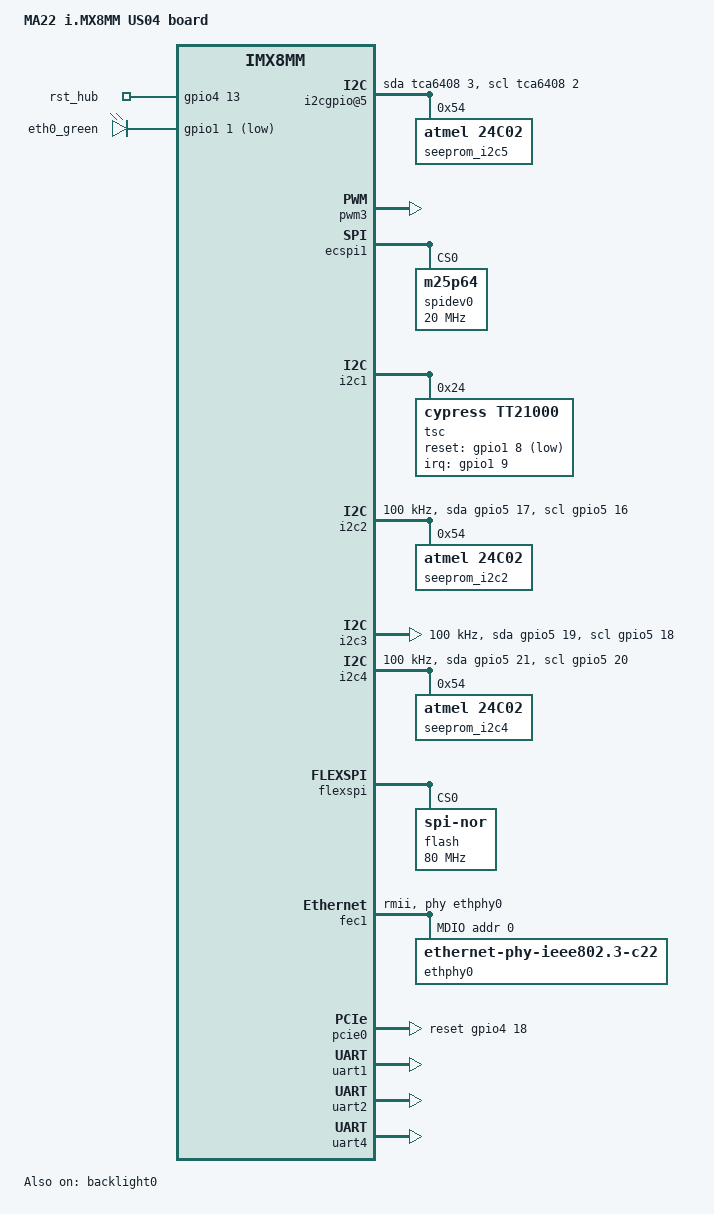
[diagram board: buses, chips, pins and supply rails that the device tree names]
/*
 * Copyright (C) 2019 Exor S.p.a
 * 
 * Written by: G. Pavoni Exor S.p.a.
 * 
 * Copyright (C) 2013 Freescale Semiconductor, Inc.
 *
 * This program is free software; you can redistribute it and/or modify
 * it under the terms of the GNU General Public License version 2 as
 * published by the Free Software Foundation.
 */
  
/dts-v1/;
  
#include "imx8mm_us04.dtsi"
  
/ {
	model = "MA22 i.MX8MM US04 board";

	aliases {
		serial0 = &uart1;
		serial1 = &uart2;
		serial2 = &uart4;
		
		i2c0 = &i2c1;
		i2c1 = &i2c2;
		i2c2 = &i2c3;
		i2c3 = &i2c4;
	};

	thermal-zones {
		/* cpu thermal */
		cpu-thermal {
			polling-delay-passive = <250>;
			polling-delay = <2000>;
			thermal-sensors = <&tmu>;
			trips {
				cpu_alert0: trip0 {
					temperature = <110000>;
					hysteresis = <2000>;
					type = "passive";
				};

				cpu_crit0: trip1 {
					temperature = <120000>;
					hysteresis = <2000>;
					type = "critical";
				};
			};

			cooling-maps {
				map0 {
					trip = <&cpu_alert0>;
					cooling-device =
					<&A53_0 THERMAL_NO_LIMIT THERMAL_NO_LIMIT>;
				};
			};
		};
	};
	
	lvdspanel {
		de_pol = <1>;
		hsync_pol = <1>;
		vsync_pol = <1>;
		lvds-use-jeida;
		panel-timing {
			clock-frequency = <75000000>;
			hactive = <1280>;
			vactive = <800>;
			hsync-len = <100>;
			hfront-porch = <140>;
			hback-porch = <20>;
			vsync-len = <10>;
			vfront-porch = <40>;
			vback-porch = <40>;
		};
	};	
	
	i2cgpio@5 {
		compatible = "i2c-gpio";
		sda-gpios = <&tca6408 3 (GPIO_ACTIVE_HIGH|GPIO_OPEN_DRAIN)>;
		scl-gpios = <&tca6408 2 (GPIO_ACTIVE_HIGH|GPIO_OPEN_DRAIN)>;
		i2c-gpio,delay-us = <40>;	
		#address-cells = <1>;
		#size-cells = <0>;

		seeprom_i2c5:seeprom_i2c5@54 {
			compatible = "atmel,24c02";
			reg = <0x54>;
		};	
	};	
};

&leds{
        rsthub@9 {
            label = "rst_hub";
            gpios = <&gpio4 13 GPIO_ACTIVE_HIGH>;
            default-state = "on";
        };
        
        eth0_green@10 {
            label = "eth0_green";
            gpios = <&gpio1 1 GPIO_ACTIVE_LOW>;
            default-state = "off";
        };
};

&backlight0 {
    compatible = "pwm-backlight";
    pwms = <&pwm3 0 4000000 0>;
    brightness-levels = <0 4 8 12 16 20 24 28 32 36 40 44 48 52 56 60 64 68 72 76 80 84 88 92 96 100>;
    default-brightness-level = <25>;
    enable-gpios = <&gpio5 5 0>;
    status = "okay";
};

&pwm3 {
	pinctrl-names = "default";
	pinctrl-0 = <&pinctrl_pwm3>;
	status = "okay";
};

&ecspi1 {
    spidev0: spi0@0 {
		#address-cells = <1>;
		#size-cells = <1>;
		compatible = "m25p64";
		reg = <0>; /* Chip select 0 */
		spi-max-frequency = <20000000>;
		m25p,fast-read;
    };
};

&ecspi3 {
	/delete-property/dmas;
	/delete-property/dma-names;
};

&i2c1 {
	tsc@24 {
		compatible = "cypress,tt21000";
		reg = <0x24>;

		pinctrl-names = "default";
		pinctrl-0 = <&pinctrl_touch>;
		interrupt-parent = <&gpio1>;
		interrupts = <9 IRQ_TYPE_EDGE_FALLING>;
		reset-gpios = <&gpio1 8 GPIO_ACTIVE_LOW>;
		touchscreen-size-x = <1280>;
		touchscreen-size-y = <800>;
	};    
};

&i2c2 {
	clock-frequency = <100000>;
	pinctrl-names = "default", "gpio";
	pinctrl-0 = <&pinctrl_i2c2>;
	pinctrl-1 = <&pinctrl_i2c2_gpio>;
	scl-gpios = <&gpio5 16 GPIO_ACTIVE_HIGH>;
	sda-gpios = <&gpio5 17 GPIO_ACTIVE_HIGH>;
	status = "okay";
    
    seeprom_i2c2:seeprom_i2c2@54 {
        compatible = "atmel,24c02";
        reg = <0x54>;
    };	
};

&i2c3 {
	clock-frequency = <100000>;
	pinctrl-names = "default", "gpio";
	pinctrl-0 = <&pinctrl_i2c3>;
	pinctrl-1 = <&pinctrl_i2c3_gpio>;
	scl-gpios = <&gpio5 18 GPIO_ACTIVE_HIGH>;
	sda-gpios = <&gpio5 19 GPIO_ACTIVE_HIGH>;
	status = "okay";
};

&i2c4 {
	clock-frequency = <100000>;
	pinctrl-names = "default", "gpio";
	pinctrl-0 = <&pinctrl_i2c4>;
	pinctrl-1 = <&pinctrl_i2c4_gpio>;
	scl-gpios = <&gpio5 20 GPIO_ACTIVE_HIGH>;
	sda-gpios = <&gpio5 21 GPIO_ACTIVE_HIGH>;
	status = "okay";
    
    seeprom_i2c4:seeprom_i2c4@54 {
        compatible = "atmel,24c02";
        reg = <0x54>;
    };	
};

&flexspi {
	pinctrl-names = "default";
	pinctrl-0 = <&pinctrl_flexspi>;
	status = "okay";

	flash@0 {
		reg = <0>;
		#address-cells = <1>;
		#size-cells = <1>;
		compatible = "jedec,spi-nor";
		spi-max-frequency = <80000000>;
		spi-tx-bus-width = <1>;
		spi-rx-bus-width = <4>;
	};
};

&fec1 {
	pinctrl-names = "default";
	pinctrl-0 = <&pinctrl_fec1>;
	phy-mode = "rmii";
	phy-handle = <&ethphy0>;
	fsl,magic-packet;
	status = "okay";

	mdio {
		#address-cells = <1>;
		#size-cells = <0>;

		ethphy0: ethernet-phy@0 {
			compatible = "ethernet-phy-ieee802.3-c22";
			max-speed = <100>;
			reg = <0>;
		};
	};
};

&pcie0{
	pinctrl-names = "default";
	pinctrl-0 = <&pinctrl_pcie0>;
	reset-gpio = <&gpio4 18 0>;
	ext_osc = <1>;
	fsl,max-link-speed = <1>;
	status = "okay";
};

&usbotg1{
 //over-current-active-low;
 disable-over-current;
};

&usbotg2{
 //over-current-active-low;
 disable-over-current;
};

&uart1 { /* Main/debug UART: ttymxc0 */
	/delete-property/dmas;
	/delete-property/dma-names;
	pinctrl-names = "default";
	pinctrl-0 = <&pinctrl_uart1>;
	fsl,uart-has-rtscts;
	status = "okay";
};

&uart2 { /* Aux RS232 uart: ttymxc1 (no RTS/CTS) */
	pinctrl-names = "default";
	pinctrl-0 = <&pinctrl_uart2>;
	fsl,uart-has-rtscts;
	status = "okay";
	/delete-property/dmas;
	/delete-property/dma-names;
	assigned-clocks = <&clk IMX8MM_CLK_UART2>;
	assigned-clock-parents = <&clk IMX8MM_SYS_PLL1_80M>;
};

&uart4 { /* Aux RS232 uart: ttymxc2 */
	pinctrl-names = "default";
	pinctrl-0 = <&pinctrl_uart4>;
	fsl,uart-has-rtscts;
	status = "okay";
	/delete-property/dmas;
	/delete-property/dma-names;
	assigned-clocks = <&clk IMX8MM_CLK_UART4>;
	assigned-clock-parents = <&clk IMX8MM_SYS_PLL1_80M>;
};

&iomuxc {
	pinctrl-names = "default";
	pinctrl-0 = <&pinctrl_hog &pinctrl_hog2>;

	imx8mm-evk {
		pinctrl_hog2: hoggrp-2 {
			fsl,pins = <
				MX8MM_IOMUXC_GPIO1_IO07_GPIO1_IO7      0x1c4
				MX8MM_IOMUXC_GPIO1_IO04_GPIO1_IO4      0x1c4
				MX8MM_IOMUXC_SAI1_RXD5_GPIO4_IO7       0x1c4
				MX8MM_IOMUXC_SAI1_TXD1_GPIO4_IO13      0x0c4
				MX8MM_IOMUXC_GPIO1_IO01_GPIO1_IO1      0x0c4
			>;
		};
		
		pinctrl_touch: touchgrp {
			fsl,pins = <
				MX8MM_IOMUXC_GPIO1_IO08_GPIO1_IO8      0x0c4 /* touch_reset*/
				MX8MM_IOMUXC_GPIO1_IO09_GPIO1_IO9      0x0c4 /* touch irq*/
			>;
		};

        pinctrl_i2c2: i2c2grp {
			fsl,pins = <
				MX8MM_IOMUXC_I2C2_SCL_I2C2_SCL			0x400001c3
				MX8MM_IOMUXC_I2C2_SDA_I2C2_SDA			0x400001c3
			>;
		};

		pinctrl_i2c2_gpio: i2c2grpgpio {
			fsl,pins = <
				MX8MM_IOMUXC_I2C2_SCL_GPIO5_IO16        0x1c4
				MX8MM_IOMUXC_I2C2_SDA_GPIO5_IO17        0x1c4
			>;
		};

        pinctrl_i2c3: i2c3grp {
			fsl,pins = <
				MX8MM_IOMUXC_I2C3_SCL_I2C3_SCL			0x400001c3
				MX8MM_IOMUXC_I2C3_SDA_I2C3_SDA			0x400001c3
			>;
		};

		pinctrl_i2c3_gpio: i2c3grpgpio {
			fsl,pins = <
				MX8MM_IOMUXC_I2C3_SCL_GPIO5_IO18        0x1c4
				MX8MM_IOMUXC_I2C3_SDA_GPIO5_IO19        0x1c4
			>;
		};

        pinctrl_i2c4: i2c4grp {
			fsl,pins = <
				MX8MM_IOMUXC_I2C4_SCL_I2C4_SCL			0x400001c3
				MX8MM_IOMUXC_I2C4_SDA_I2C4_SDA			0x400001c3
			>;
		};

		pinctrl_i2c4_gpio: i2c4grpgpio {
			fsl,pins = <
				MX8MM_IOMUXC_I2C4_SCL_GPIO5_IO20        0x1c4
				MX8MM_IOMUXC_I2C4_SDA_GPIO5_IO21        0x1c4
			>;
		};

		pinctrl_flexspi: flexspigrp {
			fsl,pins = <
				MX8MM_IOMUXC_NAND_ALE_QSPI_A_SCLK               0x1c2
				MX8MM_IOMUXC_NAND_CE0_B_QSPI_A_SS0_B            0x82
				MX8MM_IOMUXC_NAND_DATA00_QSPI_A_DATA0           0x82
				MX8MM_IOMUXC_NAND_DATA01_QSPI_A_DATA1           0x82
				MX8MM_IOMUXC_NAND_DATA02_QSPI_A_DATA2           0x82
				MX8MM_IOMUXC_NAND_DATA03_QSPI_A_DATA3           0x82
			>;
		};
	
		pinctrl_pcie0: pcie0grp {
			fsl,pins = <
				MX8MM_IOMUXC_SAI1_TXD6_GPIO4_IO18	0x1c4
			>;
		};

		pinctrl_pwm3: pwm3grp {
			fsl,pins = <
				MX8MM_IOMUXC_SPDIF_TX_PWM3_OUT            0x0c4
				MX8MM_IOMUXC_SPDIF_EXT_CLK_GPIO5_IO5      0x0c4
			>;
		};

		pinctrl_fec1: fec1grp {
			fsl,pins = <
				MX8MM_IOMUXC_ENET_MDC_ENET1_MDC		0x3
				MX8MM_IOMUXC_ENET_MDIO_ENET1_MDIO	0x3
				MX8MM_IOMUXC_ENET_TD2_ENET1_TX_CLK	0x4000001f
				MX8MM_IOMUXC_ENET_TD1_ENET1_RGMII_TD1	0x56
				MX8MM_IOMUXC_ENET_TD0_ENET1_RGMII_TD0	0x56
				MX8MM_IOMUXC_ENET_RD1_ENET1_RGMII_RD1	0x56
				MX8MM_IOMUXC_ENET_RD0_ENET1_RGMII_RD0	0x56
				MX8MM_IOMUXC_ENET_RXC_ENET1_RX_ER	0x56
				MX8MM_IOMUXC_ENET_RX_CTL_ENET1_RGMII_RX_CTL	0x56
				MX8MM_IOMUXC_ENET_TX_CTL_ENET1_RGMII_TX_CTL	0x56
			>;
		};
		
		pinctrl_uart1: uart1grp {
			fsl,pins = <
				MX8MM_IOMUXC_SAI2_RXFS_UART1_DCE_TX     0x140
				MX8MM_IOMUXC_SAI2_RXC_UART1_DCE_RX      0x140
				MX8MM_IOMUXC_SAI2_RXD0_UART1_DCE_RTS_B	0x140
				MX8MM_IOMUXC_SAI2_TXFS_UART1_DCE_CTS_B	0x140
			>;
		};
		
		pinctrl_uart2: uart2grp {
			fsl,pins = <
				MX8MM_IOMUXC_SAI3_TXFS_UART2_DCE_RX     0x140
				MX8MM_IOMUXC_SAI3_TXC_UART2_DCE_TX      0x140
			>;
		};

		pinctrl_uart4: uart4grp {
			fsl,pins = <
				MX8MM_IOMUXC_ECSPI2_SCLK_UART4_DCE_RX 0x140
				MX8MM_IOMUXC_ECSPI2_MOSI_UART4_DCE_TX 0x140
				MX8MM_IOMUXC_ECSPI2_MISO_UART4_DCE_CTS_B 0x140
				MX8MM_IOMUXC_ECSPI2_SS0_UART4_DCE_RTS_B 0x140
			>;
		};
	};
};

